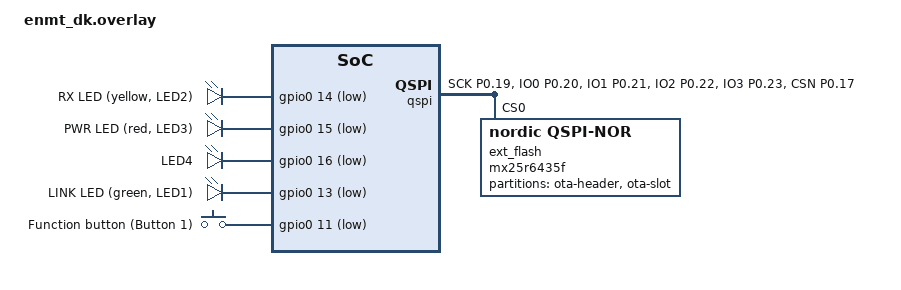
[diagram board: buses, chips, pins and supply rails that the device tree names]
/*
 * nRF52840 DK standing in for the EnMT carrier: the carrier's UF2 build (promicro_nrf52840/nrf52840/uf2,
 * the same as BOARD=enmt) with its status LEDs and function button on the DK's own LEDs and Button 1.
 * For a DK with the EnMT bootloader for the DK (firmware/bootloader, board enmt_dk), flashed over
 * the DK's nRF USB port (J3). `make BOARD=enmt-dk`.
 *
 * The DK's LEDs are active low, like the carrier's:
 *   LED1  P0.13  green LINK  Matter/Thread status (Nrf::Board)
 *   LED2  P0.14  yellow RX   short pulse per packet from a bridged device; Matter Identify blinks it
 *   LED3  P0.15  red PWR     on; blinks while the app's health check fails
 *   LED4  P0.16  stands in for the nice!nano's own LED
 * Button 1 (P0.11) is the function button: held for 6 s, factory reset. P0.11 is i2c0's SCL in the
 * Pro Micro board files; i2c0 is disabled in the apps' promicro_nrf52840_common.dtsi.
 * See enmt_carrier.overlay and common/status_leds/.
 */

/* led0 keeps its label: the board's aliases (led0, mcuboot-led0) point at it. */
&led0 {
	gpios = <&gpio0 13 GPIO_ACTIVE_LOW>;
	label = "LINK LED (green, LED1)";
};

&button0 {
	gpios = <&gpio0 11 (GPIO_PULL_UP | GPIO_ACTIVE_LOW)>;
	label = "Function button (Button 1)";
};

/ {
	leds {
		led_rx: led_1 {
			gpios = <&gpio0 14 GPIO_ACTIVE_LOW>;
			label = "RX LED (yellow, LED2)";
		};

		led_pwr: led_2 {
			gpios = <&gpio0 15 GPIO_ACTIVE_LOW>;
			label = "PWR LED (red, LED3)";
		};

		led_module: led_3 {
			gpios = <&gpio0 16 GPIO_ACTIVE_LOW>;
			label = "LED4";
		};
	};

	aliases {
		led1 = &led_rx;
		led2 = &led_pwr;
		led3 = &led_module;
	};
};

/*
 * QSPI flash (MX25R6435F, 8 MB, as in Zephyr's nrf52840dk board files) for Matter OTA: the app
 * stages an update there, the EnMT bootloader installs it (common/ota/gateway_ota.h,
 * firmware/bootloader/enmt_ota.h). The offsets are fixed by the bootloader.
 */
&pinctrl {
	qspi_default: qspi_default {
		group1 {
			psels = <NRF_PSEL(QSPI_SCK, 0, 19)>,
				<NRF_PSEL(QSPI_IO0, 0, 20)>,
				<NRF_PSEL(QSPI_IO1, 0, 21)>,
				<NRF_PSEL(QSPI_IO2, 0, 22)>,
				<NRF_PSEL(QSPI_IO3, 0, 23)>,
				<NRF_PSEL(QSPI_CSN, 0, 17)>;
			nordic,drive-mode = <NRF_DRIVE_H0H1>;
		};
	};

	qspi_sleep: qspi_sleep {
		group1 {
			psels = <NRF_PSEL(QSPI_SCK, 0, 19)>,
				<NRF_PSEL(QSPI_IO0, 0, 20)>,
				<NRF_PSEL(QSPI_IO1, 0, 21)>,
				<NRF_PSEL(QSPI_IO2, 0, 22)>,
				<NRF_PSEL(QSPI_IO3, 0, 23)>;
			low-power-enable;
		};

		group2 {
			psels = <NRF_PSEL(QSPI_CSN, 0, 17)>;
			low-power-enable;
			bias-pull-up;
		};
	};
};

&qspi {
	status = "okay";
	pinctrl-0 = <&qspi_default>;
	pinctrl-1 = <&qspi_sleep>;
	pinctrl-names = "default", "sleep";

	ext_flash: mx25r6435f@0 {
		compatible = "nordic,qspi-nor";
		reg = <0>;
		writeoc = "pp4io";
		readoc = "read4io";
		sck-frequency = <8000000>;
		jedec-id = [c2 28 17];
		sfdp-bfp = [e5 20 f1 ff ff ff ff 03 44 eb 08 6b 08 3b 04 bb
			    ee ff ff ff ff ff 00 ff ff ff 00 ff 0c 20 0f 52
			    10 d8 00 ff 23 72 f5 00 82 ed 04 cc 44 83 68 44
			    30 b0 30 b0 f7 c4 d5 5c 00 be 29 ff f0 d0 ff ff];
		size = <67108864>;
		has-dpd;
		t-enter-dpd = <10000>;
		t-exit-dpd = <35000>;

		partitions {
			compatible = "fixed-partitions";
			#address-cells = <1>;
			#size-cells = <1>;

			ota_header_partition: partition@0 {
				label = "ota-header";
				reg = <0x00000000 DT_SIZE_K(4)>;
			};

			ota_slot_partition: partition@1000 {
				label = "ota-slot";
				reg = <0x00001000 DT_SIZE_K(888)>;
			};
		};
	};
};
